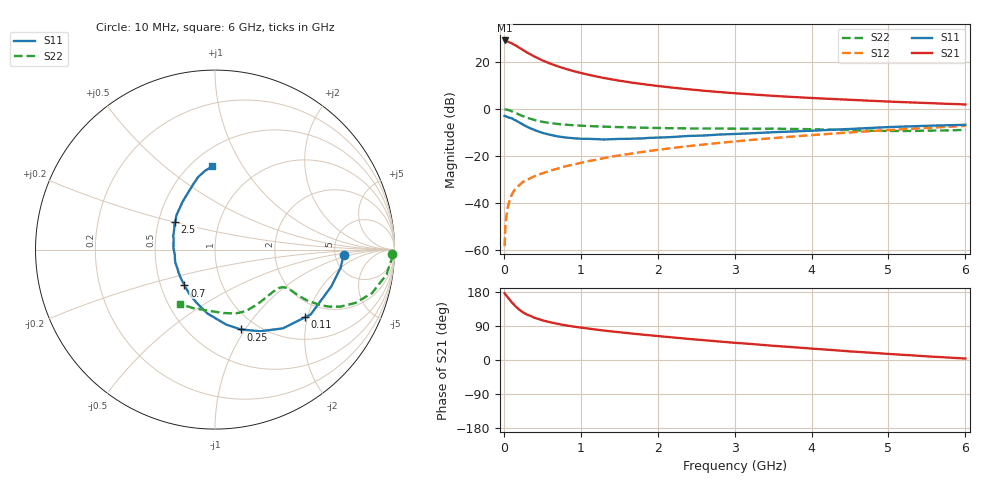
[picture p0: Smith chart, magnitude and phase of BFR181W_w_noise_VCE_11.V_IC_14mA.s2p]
! Infineon Technologies  Discrete & RF Semiconductors
! BFR181W
! VCE =  11. V,  IC =  14 mA
! Common Emitter S-Parameters:  Jan 2017
# GHz  S  MA  R  50
!  f  S11  S21  S12  S22
! GHz  MAG  ANG  MAG  ANG  MAG  ANG  MAG  ANG
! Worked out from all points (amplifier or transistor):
!   77 points, 10 MHz to 6 GHz, reference 50 ohm
!   highest |S21| = 29.3 dB at 10 MHz (marker M1)
!   |S21| within 3 dB of that: start of sweep to 195.4 MHz
!   unconditionally stable (mu >= 1): 925 MHz to 2.936 GHz
!   at 130 MHz: K = 0.32, MSG = 31.2 dB, |S12| = -34.9 dB
!   at 2.2 GHz: K = 1.05, MAG = 11.5 dB, |S12| = -16.5 dB
!   at 6 GHz: K = 0.85, MSG = 4.6 dB, |S12| = -7.2 dB
!   lowest NFmin = 1.43 dB at 450 MHz
!   S11 on the Smith chart (normalised r, x): 10 MHz: 5.98, -0.68; 110 MHz: 1.55, -1.93; 250 MHz: 0.84, -0.96; 700 MHz: 0.66, -0.28; 2.5 GHz: 0.61, +0.20; 6 GHz: 0.63, +0.74
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0.01  0.7166 -2.2  29.09 176.2  0.0012 89.2  0.9865 -1.5
0.02  0.7077 -8.1  28.64 173.0  0.0032 94.2  0.9854 -3.1
0.05  0.6799 -17.5  27.56 165.5  0.0079 82.0  0.9656 -8.3
0.1  0.644 -34.2  25.45 152.7  0.0146 76.9  0.9067 -15.6
0.11  0.6279 -36.9  24.88 150.7  0.0157 74.9  0.8918 -16.6
0.15  0.5796 -49.2  22.96 142.0  0.0203 69.2  0.8349 -20.9
0.2  0.5202 -61.0  20.37 132.8  0.0238 68.0  0.7665 -24.5
0.25  0.4675 -72.1  18.14 125.6  0.0284 64.5  0.7067 -26.7
0.3  0.4225 -81.5  16.14 119.9  0.031 63.4  0.6567 -27.9
0.4  0.3586 -96.7  13.14 111.1  0.0373 63.5  0.5849 -28.9
0.5  0.3125 -109.5  10.96 104.8  0.0427 63.8  0.5373 -28.9
0.6  0.2842 -120.5  9.387 99.7  0.0487 64.4  0.5057 -28.6
0.7  0.2623 -130.5  8.173 95.4  0.0539 66.2  0.483 -28.2
0.9  0.2403 -147.3  6.497 88.4  0.0655 68.1  0.4544 -28.2
1.1  0.2327 -161.2  5.404 82.9  0.078 68.3  0.4367 -28.7
1.5  0.232 177.7  4.046 73.4  0.1032 68.9  0.4135 -31.5
2.1  0.2507 155.8  2.985 61.4  0.1421 67.7  0.3941 -39.4
2.5  0.2708 145.3  2.557 54.0  0.1694 66.2  0.3872 -46.1
3.1  0.3 131.9  2.127 44.0  0.2118 63.2  0.383 -56.5
4.1  0.3526 114.9  1.697 28.7  0.287 56.5  0.3698 -73.9
5.1  0.4198 102.0  1.429 14.8  0.3657 48.4  0.3419 -98.4
6  0.464 91.9  1.257 3.8  0.4387 40.1  0.3614 -122.9
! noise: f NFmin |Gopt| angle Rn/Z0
0.45  1.43  0.06  16  0.21
0.9  1.48  0.06  32  0.21
1.9  1.92  0.11  -141  0.21
2.4  2.13  0.14  -109  0.27
